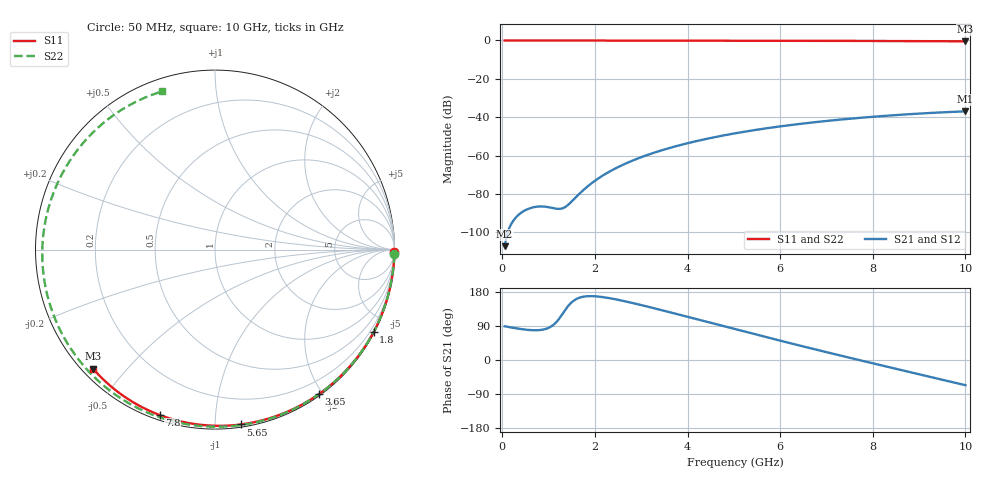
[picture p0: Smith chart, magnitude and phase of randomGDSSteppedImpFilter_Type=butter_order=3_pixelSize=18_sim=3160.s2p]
! freq	dB(S11)	phase(S11)	dB(S12)	phase(S12)
!  dB(S21)	phase(S21)	dB(S22)	phase(S22)
!S-par simulation data
#  GHz  S  DB  R 50
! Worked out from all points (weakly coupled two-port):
!   200 points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, 50 MHz to 10 GHz, reference 50 ohm
!   highest |S21| = -36.93 dB at 10 GHz (marker M1); lowest = -107.2 dB at 50 MHz (marker M2)
!   lowest |S11| = -0.5 dB at 10 GHz (marker M3), VSWR 38.35, Z = 1.52 - j20.4 ohm
!   |S11| at or under -10 dB: nowhere
!   |S22| runs from -0.6 to 0.0 dB; largest |S21 - S12| = 0
!   S11 on the Smith chart (normalised r, x): 50 MHz: open; 1.8 GHz: 0.04, -4.09; 3.65 GHz: 0.02, -1.95; 5.65 GHz: 0.02, -1.16; 7.8 GHz: 0.02, -0.72; 10 GHz: 0.03, -0.41
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0.05  -0.00 -0.8  -107.16 89.1  -107.16 89.1  -0.00 -1.5
0.4  -0.01 -6.2  -89.86 81.7  -89.86 81.7  -0.02 -12.1
0.8  -0.02 -12.3  -86.49 78.9  -86.49 78.9  -0.03 -24.0
1.2  -0.02 -18.4  -87.73 104.5  -87.73 104.5  -0.05 -35.8
1.65  -0.03 -25.2  -80.21 163.7  -80.21 163.7  -0.06 -48.7
1.75  -0.03 -26.7  -77.94 167.0  -77.94 167.0  -0.06 -51.5
1.8  -0.03 -27.4  -76.88 167.9  -76.88 167.9  -0.07 -52.9
2.1  -0.04 -31.9  -71.44 167.1  -71.44 167.1  -0.08 -61.2
2.45  -0.05 -37.1  -66.57 160.1  -66.57 160.1  -0.09 -70.7
2.9  -0.06 -43.7  -61.73 147.9  -61.73 147.9  -0.10 -82.5
3.4  -0.07 -50.8  -57.53 132.8  -57.53 132.8  -0.12 -95.2
3.65  -0.07 -54.4  -55.75 125.0  -55.75 125.0  -0.13 -101.4
4.3  -0.09 -63.4  -51.84 104.5  -51.84 104.5  -0.16 -116.9
5.05  -0.11 -73.6  -48.27 80.7  -48.27 80.7  -0.19 -134.1
5.65  -0.13 -81.5  -45.95 61.9  -45.95 61.9  -0.23 -147.5
6.2  -0.16 -88.6  -44.13 44.9  -44.13 44.9  -0.26 -159.7
6.7  -0.18 -94.9  -42.70 29.7  -42.70 29.7  -0.30 -170.8
7.25  -0.21 -101.8  -41.34 13.3  -41.34 13.3  -0.35 177.0
7.8  -0.25 -108.5  -40.15 -2.9  -40.15 -2.9  -0.40 164.4
8.35  -0.29 -115.2  -39.12 -18.9  -39.12 -18.9  -0.45 151.4
9.15  -0.36 -124.9  -37.89 -42.0  -37.89 -42.0  -0.53 131.4
10  -0.45 -135.6  -36.93 -66.5  -36.93 -66.5  -0.64 108.4
